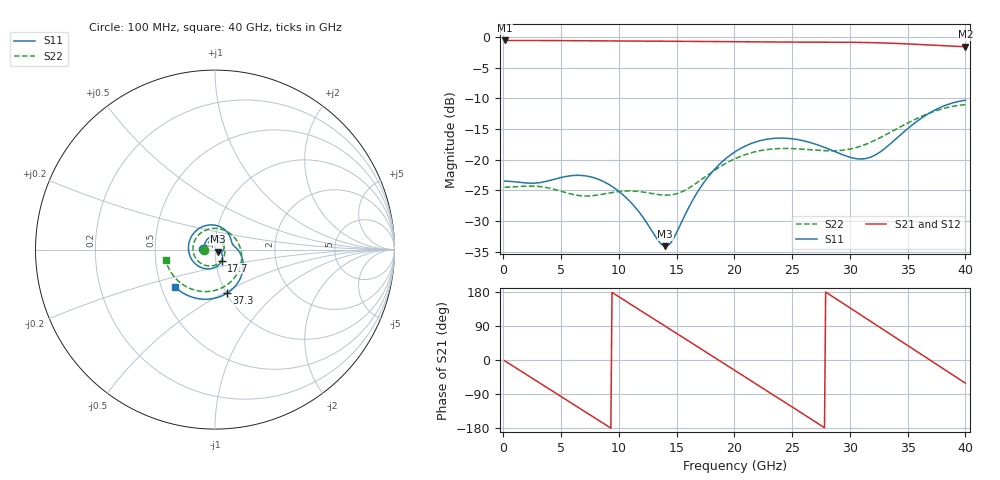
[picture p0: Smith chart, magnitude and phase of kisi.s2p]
! X_s8x4_L1L3_bd_d200: L1→L3 back-drilled, drill Ø0.2, L4 plane removed: L3 exits inside the thick L2–L5 pair
! stackup: 8-layer 1.6 mm FR-4 without the L4 plane
! ports: 1, 2
! kisi-fdtd, conformal, dfine 0.0175 mm (the cell at metal ÷ 2), 1274115 cells
# Hz S RI R 50
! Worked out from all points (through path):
!   400 points, 100 MHz to 40 GHz, reference 50 ohm
!   highest |S21| = -0.56 dB at 100 MHz (marker M1); lowest = -1.6 dB at 40 GHz (marker M2)
!   group delay of S21, straight-line fit = 54.2 ps
!   lowest |S11| = -34.1 dB at 14 GHz (marker M3), VSWR 1.04, Z = 51.7 - j1.11 ohm
!   |S11| at or under -10 dB: start of sweep to end of sweep
!   |S22| runs from -25.9 to -11.0 dB; largest |S21 - S12| = 0.0083
!   S11 on the Smith chart (normalised r, x): 100 MHz: 0.87, +0.00; 17.7 GHz: 1.07, -0.13; 37.3 GHz: 1.00, -0.52; 40 GHz: 0.59, -0.27
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1e8  -0.067 0.00131  0.9374 -0.0317  0.9391 -0.0318  -0.0598 0.000408
1.8e9  -0.0614 0.0208  0.7698 -0.5353  0.7697 -0.5369  -0.0603 0.00876
3.7e9  -0.054 0.0391  0.2961 -0.8885  0.2947 -0.8882  -0.0557 0.0208
5.2e9  -0.0404 0.0601  -0.1716 -0.9191  -0.1715 -0.9179  -0.0479 0.0263
6.8e9  -0.005 0.0743  -0.618 -0.6988  -0.6169 -0.6988  -0.0422 0.0284
8.4e9  0.0364 0.0577  -0.887 -0.2819  -0.8868 -0.2828  -0.0395 0.0339
9.9e9  0.0524 0.0203  -0.911 0.1823  -0.9117 0.1819  -0.0316 0.045
1.34e10  0.0169 -0.014  -0.1775 0.9084  -0.1769 0.9087  0.0288 0.0434
1.4e10  0.0166 -0.0107  0.00897 0.9248  0.00966 0.9248  0.0398 0.0327
1.57e10  0.0321 -0.0143  0.5089 0.7696  0.509 0.7689  0.0548 -0.0127
1.77e10  0.037 -0.0618  0.8755 0.2805  0.8748 0.2805  0.0279 -0.0699
2.01e10  -0.0461 -0.1074  0.8022 -0.44  0.8025 -0.4394  -0.0514 -0.0887
2.18e10  -0.1241 -0.0633  0.4326 -0.8033  0.4332 -0.8036  -0.1026 -0.0547
2.34e10  -0.1467 0.0279  -0.0437 -0.9096  -0.0439 -0.9104  -0.1227 0.00105
2.49e10  -0.1029 0.1072  -0.4815 -0.7721  -0.4823 -0.7722  -0.1097 0.0565
2.67e10  -0.00599 0.1368  -0.8382 -0.3534  -0.8384 -0.3524  -0.0587 0.1051
2.95e10  0.0852 0.0676  -0.7668 0.4857  -0.7657 0.4849  0.0597 0.1041
3.15e10  0.0991 0.028  -0.277 0.8585  -0.2782 0.8572  0.1311 0.0326
3.34e10  0.1321 -0.00828  0.3055 0.8377  0.3039 0.8394  0.1446 -0.0803
3.55e10  0.1543 -0.1202  0.7717 0.4117  0.7744 0.4136  0.0582 -0.2021
3.73e10  0.0655 -0.2439  0.8496 -0.1144  0.8526 -0.118  -0.09 -0.231
4e10  -0.223 -0.2085  0.4025 -0.7297  0.3942 -0.7295  -0.2757 -0.0566
